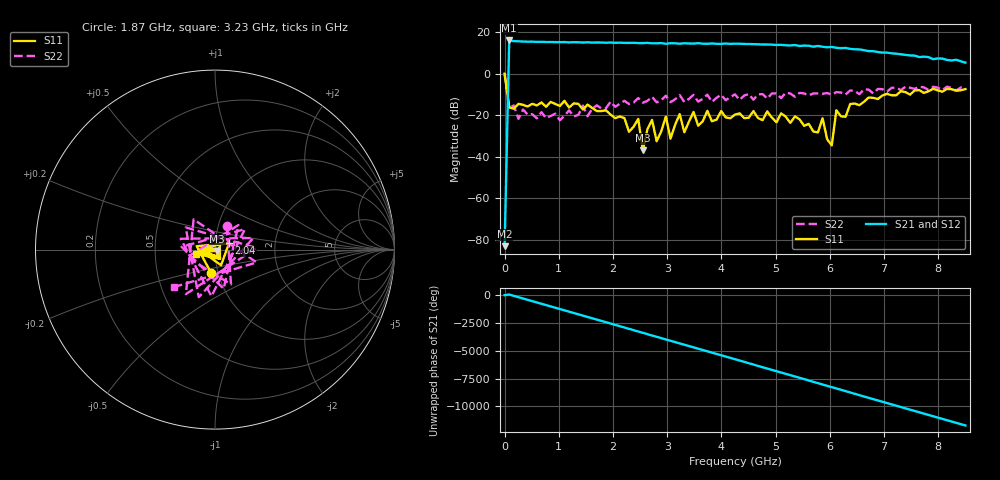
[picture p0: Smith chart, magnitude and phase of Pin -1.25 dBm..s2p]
! RsaToolbox (C) 2013 Rohde & Schwarz America
! Number of points: 101
! Number of ports: 2
! Balanced ports?: 0
# Hz S RI R 50
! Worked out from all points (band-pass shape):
!   101 points, 9 kHz to 8.5 GHz, reference 50 ohm
!   highest |S21| = 16.01 dB at 85.01 MHz (marker M1); lowest = -82.9 dB at 9 kHz (marker M2)
!   |S21| within 3 dB of the highest: 82.43 MHz to 5.861 GHz (5.778 GHz wide, 194 % of centre)
!   lowest |S11| = -36.9 dB at 2.55 GHz (marker M3), VSWR 1.03, Z = 51.3 - j0.728 ohm
!   |S11| at or under -10 dB: 52.58 MHz to 7.019 GHz (6.966 GHz wide, 197 % of centre); 7.096 GHz to 7.24 GHz (144.6 MHz wide, 2.02 % of centre); 7.477011 GHz to 7.481756 GHz (4.744 MHz wide, 0.0634 % of centre)
!   |S22| runs from -22.4 to 0.1 dB; largest |S21 - S12| = 0
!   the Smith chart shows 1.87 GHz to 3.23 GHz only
!   S11 on the Smith chart (normalised r, x): 1.87 GHz: 0.93, -0.25; 2.04 GHz: 1.17, +0.08; 3.23 GHz: 0.81, -0.04
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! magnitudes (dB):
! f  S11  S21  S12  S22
! 9 kHz  0.0  -82.9  -82.9  0.1
! 85.01 MHz  -16.2  16.0  16.0  -16.6
! 1.445 GHz  -17.2  15.0  15.0  -15.3
! 1.87 GHz  -17.6  14.9  14.9  -16.6
! 2.04 GHz  -21.4  14.9  14.9  -15.9
! 2.465 GHz  -21.7  14.7  14.7  -11.7
! 2.55 GHz  -36.9  14.7  14.7  -14.0
! 2.72 GHz  -22.2  14.6  14.6  -11.1
! 2.805 GHz  -32.5  14.6  14.6  -13.8
! 2.89 GHz  -27.7  14.7  14.7  -12.7
! 2.975 GHz  -20.6  14.4  14.4  -10.6
! 3.06 GHz  -31.2  14.7  14.7  -13.7
! 3.23 GHz  -19.4  14.4  14.4  -10.2
! 3.315 GHz  -28.2  14.7  14.7  -13.6
! 3.485 GHz  -18.4  14.5  14.5  -10.2
! 4.25 GHz  -19.7  14.5  14.5  -9.9
! 5.695 GHz  -27.8  13.0  13.0  -9.5
! 5.865 GHz  -21.4  13.0  13.0  -9.6
! 6.035 GHz  -34.5  12.9  12.9  -10.1
! 6.12 GHz  -17.5  12.5  12.5  -8.8
! 7.14 GHz  -10.4  9.8  9.8  -6.8
! 8.5 GHz  -7.4  5.4  5.4  -6.7
